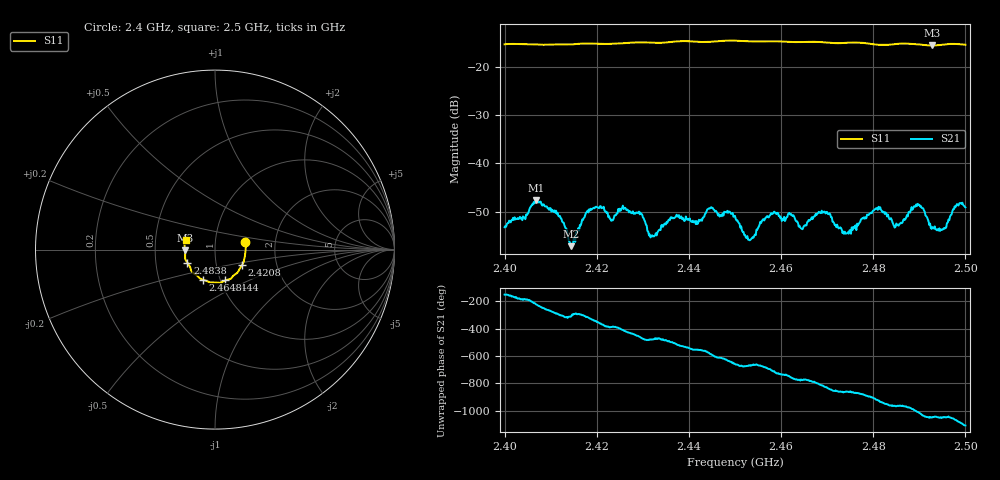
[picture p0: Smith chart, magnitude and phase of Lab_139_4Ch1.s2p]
# Hz S RI R 50
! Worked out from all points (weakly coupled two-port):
!   601 points, 2.4 GHz to 2.5 GHz, reference 50 ohm
!   highest |S21| = -47.65 dB at 2.4068 GHz (marker M1); lowest = -57.2 dB at 2.4145 GHz (marker M2)
!   lowest |S11| = -15.6 dB at 2.4928 GHz (marker M3), VSWR 1.40, Z = 35.7 - j0.302 ohm
!   |S11| at or under -10 dB: start of sweep to end of sweep
!   S12 and S22 are empty: the file has one direction only
!   S11 on the Smith chart (normalised r, x): 2.4 GHz: 1.39, +0.12; 2.4208 GHz: 1.33, -0.24; 2.444 GHz: 1.05, -0.37; 2.4648 GHz: 0.83, -0.29; 2.4838 GHz: 0.73, -0.11; 2.5 GHz: 0.72, +0.08
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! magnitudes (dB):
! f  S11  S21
! 2.4 GHz  -15.3  -53.2
! 2.4068 GHz  -15.4  -47.6
! 2.4117 GHz  -15.4  -50.9
! 2.4145 GHz  -15.3  -57.2
! 2.4167 GHz  -15.2  -52.4
! 2.4208 GHz  -15.2  -48.9
! 2.4293 GHz  -14.9  -50.6
! 2.4333 GHz  -15.0  -54.0
! 2.444 GHz  -14.9  -49.5
! 2.45 GHz  -14.6  -50.9
! 2.453 GHz  -14.7  -55.8
! 2.4583 GHz  -14.7  -50.2
! 2.4648 GHz  -14.9  -53.2
! 2.4667 GHz  -14.8  -51.2
! 2.4702 GHz  -15.0  -50.5
! 2.4742 GHz  -15.0  -54.5
! 2.4807 GHz  -15.4  -49.3
! 2.4833 GHz  -15.4  -51.1
! 2.4838 GHz  -15.4  -51.3
! 2.4898 GHz  -15.4  -48.7
! 2.4928 GHz  -15.6  -53.2
! 2.5 GHz  -15.4  -49.1
